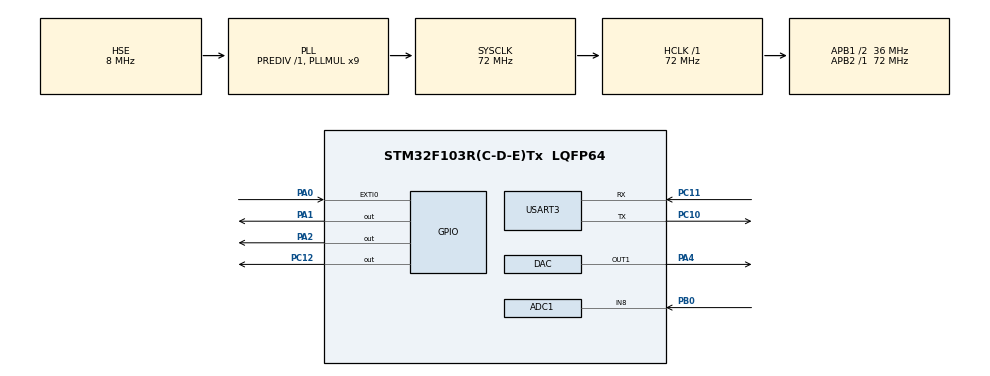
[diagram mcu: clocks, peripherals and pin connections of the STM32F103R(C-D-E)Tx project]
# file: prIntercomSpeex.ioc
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ADC1.Channel-1\#ChannelRegularConversion=ADC_CHANNEL_8
ADC1.NbrOfConversion=1
ADC1.NbrOfConversionFlag=1
ADC1.Rank-1\#ChannelRegularConversion=1
ADC1.SamplingTime-1\#ChannelRegularConversion=ADC_SAMPLETIME_1CYCLE_5
ADC1.master=1
Dma.ADC1.0.Direction=DMA_PERIPH_TO_MEMORY
Dma.ADC1.0.Instance=DMA1_Channel1
Dma.ADC1.0.MemDataAlignment=DMA_MDATAALIGN_HALFWORD
Dma.ADC1.0.MemInc=DMA_MINC_ENABLE
Dma.ADC1.0.Mode=DMA_NORMAL
Dma.ADC1.0.PeriphDataAlignment=DMA_PDATAALIGN_HALFWORD
Dma.ADC1.0.PeriphInc=DMA_PINC_DISABLE
Dma.ADC1.0.Priority=DMA_PRIORITY_LOW
Dma.DAC_CH1.2.Direction=DMA_MEMORY_TO_PERIPH
Dma.DAC_CH1.2.Instance=DMA2_Channel3
Dma.DAC_CH1.2.MemDataAlignment=DMA_MDATAALIGN_HALFWORD
Dma.DAC_CH1.2.MemInc=DMA_MINC_ENABLE
Dma.DAC_CH1.2.Mode=DMA_NORMAL
Dma.DAC_CH1.2.PeriphDataAlignment=DMA_PDATAALIGN_HALFWORD
Dma.DAC_CH1.2.PeriphInc=DMA_PINC_DISABLE
Dma.DAC_CH1.2.Priority=DMA_PRIORITY_LOW
Dma.Request0=ADC1
Dma.Request1=USART3_RX
Dma.Request2=DAC_CH1
Dma.USART3_RX.1.Direction=DMA_PERIPH_TO_MEMORY
Dma.USART3_RX.1.Instance=DMA1_Channel3
Dma.USART3_RX.1.MemDataAlignment=DMA_MDATAALIGN_BYTE
Dma.USART3_RX.1.MemInc=DMA_MINC_ENABLE
Dma.USART3_RX.1.Mode=DMA_NORMAL
Dma.USART3_RX.1.PeriphDataAlignment=DMA_PDATAALIGN_BYTE
Dma.USART3_RX.1.PeriphInc=DMA_PINC_DISABLE
Dma.USART3_RX.1.Priority=DMA_PRIORITY_MEDIUM
Mcu.Family=STM32F1
Mcu.Name=STM32F103R(C-D-E)Tx
Mcu.Package=LQFP64
NVIC.DMA1_Channel1_IRQn=true\:0\:0\:false\:false\:true\:false\:true
NVIC.DMA1_Channel3_IRQn=true\:0\:0\:false\:false\:true\:false\:true
NVIC.DMA2_Channel3_IRQn=true\:0\:0\:true\:false\:true\:false\:true
NVIC.EXTI0_IRQn=true\:0\:0\:false\:false\:true\:true\:true
NVIC.PriorityGroup=NVIC_PRIORITYGROUP_4
NVIC.TIM2_IRQn=true\:5\:0\:true\:false\:true\:true\:true
NVIC.TIM3_IRQn=true\:10\:0\:true\:false\:true\:true\:true
NVIC.TIM6_IRQn=true\:15\:0\:true\:false\:true\:true\:true
PA0-WKUP.GPIO_ModeDefaultEXTI=GPIO_MODE_IT_RISING_FALLING
PA0-WKUP.Signal=GPXTI0
PA1.PinState=GPIO_PIN_SET
PA1.Signal=GPIO_Output
PA13.Mode=Serial_Wire
PA13.Signal=SYS_JTMS-SWDIO
PA14.Mode=Serial_Wire
PA14.Signal=SYS_JTCK-SWCLK
PA2.Signal=GPIO_Output
PA4.Signal=COMP_DAC1_group
PB0.Signal=ADCx_IN8
PC10.Mode=Asynchronous
PC10.Signal=USART3_TX
PC11.Mode=Asynchronous
PC11.Signal=USART3_RX
PC12.Signal=GPIO_Output
PD0-OSC_IN.Mode=HSE-External-Oscillator
PD0-OSC_IN.Signal=RCC_OSC_IN
PD1-OSC_OUT.Mode=HSE-External-Oscillator
PD1-OSC_OUT.Signal=RCC_OSC_OUT
ProjectManager.HeapSize=0x1600
ProjectManager.StackSize=0x600
ProjectManager.TargetToolchain=STM32CubeIDE
RCC.ADCPresc=RCC_ADCPCLK2_DIV6
RCC.AHBFreq_Value=72000000
RCC.APB1CLKDivider=RCC_HCLK_DIV2
RCC.APB1Freq_Value=36000000
RCC.APB1TimFreq_Value=72000000
RCC.APB2Freq_Value=72000000
RCC.APB2TimFreq_Value=72000000
RCC.HCLKFreq_Value=72000000
RCC.PLLMUL=RCC_PLL_MUL9
RCC.PLLSourceVirtual=RCC_PLLSOURCE_HSE
RCC.SYSCLKFreq_VALUE=72000000
RCC.SYSCLKSource=RCC_SYSCLKSOURCE_PLLCLK
RCC.USBFreq_Value=72000000
SH.ADCx_IN8.0=ADC1_IN8,IN8
SH.COMP_DAC1_group.0=DAC_OUT1,DAC_OUT1
TIM2.Period=8999
TIM2.TIM_MasterOutputTrigger=TIM_TRGO_UPDATE
TIM3.Period=159
TIM3.TIM_MasterOutputTrigger=TIM_TRGO_UPDATE
TIM6.Period=7199
TIM6.Prescaler=9999
TIM6.TIM_MasterOutputTrigger=TIM_TRGO_UPDATE
USART3.VirtualMode=VM_ASYNC
VP_TIM2_VS_ClockSourceINT.Mode=Internal
VP_TIM3_VS_ClockSourceITR.Mode=TriggerSource_ITR1
VP_TIM3_VS_ControllerModeClock.Mode=Clock Mode
VP_TIM6_VS_ClockSourceINT.Mode=Enable_Timer
VP_TIM6_VS_OPM.Mode=OPM_bit
board=custom

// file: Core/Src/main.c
/* USER CODE BEGIN Header */
/**
  ******************************************************************************
  * @file           : main.c
  * @brief          : Main program body
  ******************************************************************************
  * @attention
  *
  * <h2><center>&copy; Copyright (c) 2020 STMicroelectronics.
  * All rights reserved.</center></h2>
  *
  * This software component is licensed by ST under BSD 3-Clause license,
  * the "License"; You may not use this file except in compliance with the
  * License. You may obtain a copy of the License at:
  *                        opensource.org/licenses/BSD-3-Clause
  *
  ******************************************************************************
  */
/* USER CODE END Header */

#include "main.h"

/* USER CODE BEGIN Includes */

#include "TComDef.h"

/* USER CODE END Includes */

ADC_HandleTypeDef hadc1;
DMA_HandleTypeDef hdma_adc1;

DAC_HandleTypeDef hdac;
DMA_HandleTypeDef hdma_dac_ch1;

TIM_HandleTypeDef htim2;
TIM_HandleTypeDef htim3;
TIM_HandleTypeDef htim6;

UART_HandleTypeDef huart3;
DMA_HandleTypeDef hdma_usart3_rx;

void SystemClock_Config(void);
static void MX_GPIO_Init(void);
static void MX_DMA_Init(void);
static void MX_TIM2_Init(void);
static void MX_TIM3_Init(void);
static void MX_TIM6_Init(void);
static void MX_ADC1_Init(void);
static void MX_DAC_Init(void);
static void MX_USART3_UART_Init(void);

/* USER CODE BEGIN 0 */
/*!
 *	Обработчик прерываний по таймеру
 */
void HAL_TIM_PeriodElapsedCallback(TIM_HandleTypeDef *htim)
{
	if (htim -> Instance == TIM2) managerState () ;			// С частотой 8 кГц обрабатываем состояния контроллера
	if (htim -> Instance == TIM3) managerTransfer () ;		// По срабатыванию этого таймера выполняется сжатие и передача буфера
	if (htim -> Instance == TIM6) {							// Если сработал этот таймер, то значит передача звука со второго контроллера прекращена
		setState (stateWait) ;
		stVoiceDecodeBufPos = 0 ;
		stVoiceDecodeBufNum = 0 ;
	}
}
//-------------------------------------------------------------------------------------------
/*!
 *	Обработка прерываний по нажатию кнопок
 */
void HAL_GPIO_EXTI_Callback(uint16_t GPIO_Pin)
{
	EXTI -> PR = EXTI_PR_PR0 ;		// Сбрасываем прерывание. Нужно что бы при нажатии на кнопку прерывание не вызывалось два раза.

	switch (stState) {
	  case stateWait :				// Реакция на кнопки возможна только в режиме ожидания и передачи голоса
	  case stateReady :
	  case stateADC :
	  case stateFirstTim3 :
	  case stateSpeexCompress :
		if (HAL_GPIO_ReadPin(GPIOA, GPIO_PIN_0) == GPIO_PIN_RESET) {
			setState (stateFirstTim3) ;						// Переводим в режим оцифровки с микрофона, пропуская первое срабатывание таймера TIM3
			stVoiceEncodeBufPos = 0 ;
			stVoiceEncodeBufNum = 0 ;
			HAL_TIM_Base_Start_IT(&htim3);					// запуск таймера контроля заполнения буфера
		}
		  else {
			setState (stateWait) ;
			HAL_TIM_Base_Stop_IT(&htim3) ;
		  }
	  break ;

	  default :
	  break ;
	}
}
//-------------------------------------------------------------------------------------------
/*!
 *	Обработка прерываний по DMA от аналогового микрофона
 *		!!! При недостаточной производительности контроллера, увеличивается кол-во ошибок. Зачем это нужно я не знаю.
 */
void HAL_ADC_ConvCpltCallback(ADC_HandleTypeDef* hadc)
{
	switch (stState) {				// Если сработало прерывание, то значит нужно сменить позицию в буфере
	  case stateReady :
		if (++stVoiceEncodeBufPos == defVoiceInputBufSize) {
		    stVoiceEncodeBufPos = 0 ;
		    stVoiceEncodeBufTransfer = stVoiceEncodeBufNum ;
		    if (++stVoiceEncodeBufNum == defNumBuf) stVoiceEncodeBufNum = 0 ;
	    }
	  break ;

	  case stateSpeexCompress :	// Если сжатие кодеком еще не закончилось а буфер уже заполнен, то просто теряем оцифровку звука пока оно не закончится
		if (++stVoiceEncodeBufPos == defVoiceInputBufSize) {
			stVoiceEncodeBufPos = defVoiceInputBufSize - 1 ;
			stVoiceEncodeErr++ ;
		}
	  break ;

	  default :
	  break ;
	}
}
//-------------------------------------------------------------------------------------------
/*!
 *	Обработка прерываний по DMA от воспроизведения звука
 */
void HAL_DAC_ConvCpltCallbackCh1(DAC_HandleTypeDef *hdac)
{
	if (++stVoiceDecodeBufPos == defVoiceInputBufSize) {
		stVoiceDecodeBufPos = 0 ;
		if (++stVoiceDecodeBufPlay == defNumBuf)stVoiceDecodeBufPlay = 0 ;
		if (stVoiceDecodeBufPlay == stVoiceDecodeBufNum) setState(stateVoiceWait) ; // Если новых данных не получено, то переходим в режим ожидания получения данных
	}
}
//-------------------------------------------------------------------------------------------
/*!
 * Обработка прерывания DMA после приёма данных
 */
void HAL_UART_RxCpltCallback(UART_HandleTypeDef *huart)
{
	switch (stState) {
	  case stateVoicePlay:
	  case stateVoiceWait :
		htim6.Instance -> CNT = 0 ;									// По новой начинаем отсчёт ожидания прекращения получения звука
		setState (stateVoiceReceive) ;
	  break;

	  case stateWait:
		HAL_TIM_Base_Start_IT (&htim6) ;							// Запускаем таймер для контроля перекращения получения звука.
		setState (stateVoiceReceive) ;
	  break;

	  default:
	  break;
	}

}
//-------------------------------------------------------------------------------------------
/*!
 * В зависимости от состояния управляем светодиодами
 */
void setState (defState inState)
{
	stState = inState ;
	switch (stState) {
	  case stateWait :
		HAL_GPIO_WritePin (GPIOA, defColorLight1, GPIO_PIN_RESET) ;	// Выключаем светодиоды
		HAL_GPIO_WritePin (GPIOA, defColorLight2, GPIO_PIN_RESET) ;
		HAL_GPIO_WritePin(GPIOC, GPIO_PIN_12, GPIO_PIN_RESET) ;		// Включаем контроллер на приём
	  break ;

	  case stateReady :
	  case stateSpeexCompress :
		HAL_GPIO_WritePin (GPIOA, defColorLight1, GPIO_PIN_SET) ;
		HAL_GPIO_WritePin (GPIOA, defColorLight2, GPIO_PIN_RESET) ;
		HAL_GPIO_WritePin(GPIOC, GPIO_PIN_12, GPIO_PIN_SET) ;		// Включаем контроллер на передачу
	  break ;

	  case stateVoiceReceive :
		HAL_GPIO_WritePin (GPIOA, defColorLight1, GPIO_PIN_RESET) ;
		HAL_GPIO_WritePin (GPIOA, defColorLight2, GPIO_PIN_SET) ;
	  break ;

	  default :
	  break ;
	}
}
//-------------------------------------------------------------------------------------------
/*!
 *	Менеджер обработки состояний
 */
void managerState  ()
{
stTemp++ ;

	switch (stState) {
	  case stateStart :
		if (stStartPeriod-- == 0) setState(stateWait) ;
							// Сюда я хотел присать какие-то действия при запуске.
	  break ;

	  case stateReady :
	  case stateSpeexCompress :
        HAL_ADC_Start_DMA (&hadc1, (uint32_t*) &stVoiceEncodeBuf [stVoiceEncodeBufNum][stVoiceEncodeBufPos], 1);
	  break ;

	  case stateVoiceReceive : {	// Получен очередной блок.
		speex_bits_read_from(&stSpeexDecodeStream, (char *) stSpeexDecodeBuf, defVoiceEncodeBufSize) ;
		speex_decode_int(stSpeexDecodeHandle, &stSpeexDecodeStream, (spx_int16_t *) stVoiceDecodeBuf [stVoiceDecodeBufNum]) ;
		if (++stVoiceDecodeBufNum == defNumBuf) stVoiceDecodeBufNum = 0 ;
		startUART_DMA ;
		setState (stateVoicePlay) ;
	  }
	  break ;

	  case stateVoicePlay :	{		// Воспроизводим через динамик декодированные данные
		  uint32_t voice = stVoiceDecodeBuf [stVoiceDecodeBufPlay][stVoiceDecodeBufPos] + 700 ;
		  HAL_DAC_Start_DMA(&hdac, DAC_CHANNEL_1, (uint32_t *) &voice, 1, DAC_ALIGN_12B_R) ;
	  }
	  break ;

	  default :
	  break ;
	}

}
//----------------------------------------------------------------------------------
/*!
 *	Менеджер сжатия кодеком и передачи данных
 */
void managerTransfer ()
{
	switch (stState) {
	  case stateFirstTim3 :		// Пропускаем первое срабатывание таймера TIM3
		setState (stateReady) ;
	  break ;

	  case stateReady :
		setState (stateSpeexCompress) ;
		speex_bits_reset(&stSpeexEncodeStream) ;	// Обрабатываем кодеком входной буфер
		speex_encode_int(stSpeexEncodeHandle, (spx_int16_t*)stVoiceEncodeBuf [stVoiceEncodeBufTransfer], &stSpeexEncodeStream);
		speex_bits_write(&stSpeexEncodeStream, (char *) stSpeexEncodeBuf, defVoiceEncodeBufSize);

		HAL_UART_Transmit(&huart3, (uint8_t *)stSpeexEncodeBuf, defVoiceEncodeBufSize, defTimeoutTransmit) ;	// Сжатые данные передаём на второй контроллер
		if (stState == stateSpeexCompress) setState (stateReady) ;	// Проверяем, что за время обработки буфера кодеком состояние не изменилось
	  break ;
	}
}
//----------------------------------------------------------------------------------
/* USER CODE END 0 */

int main(void)
{

  /* MCU Configuration--------------------------------------------------------*/

  /* Reset of all peripherals, Initializes the Flash interface and the Systick. */
  HAL_Init();

  /* Configure the system clock */
  SystemClock_Config();

  /* Initialize all configured peripherals */
  MX_GPIO_Init();
  MX_DMA_Init();
  MX_TIM2_Init();
  MX_TIM3_Init();
  MX_TIM6_Init();
  MX_ADC1_Init();
  MX_DAC_Init();
  MX_USART3_UART_Init();
  /* USER CODE BEGIN 2 */

  speex_bits_init(&stSpeexEncodeStream);
  speex_bits_init(&stSpeexDecodeStream);
  stSpeexDecodeHandle = speex_decoder_init(&speex_nb_mode);		// Инициализация для работы кодека speex на передачу
  stSpeexEncodeHandle = speex_encoder_init(&speex_nb_mode);
  //	speex_encoder_ctl(stSpeexEncodeHandle, SPEEX_SET_VBR, &stSpeexVBR);	// По большому счёту эти настройки не нужны, т.к. всё прописано по умолчанию.
  //	speex_encoder_ctl(stSpeexEncodeHandle, SPEEX_SET_QUALITY,&stSpeexQuality);
  //	speex_encoder_ctl(stSpeexEncodeHandle, SPEEX_SET_COMPLEXITY, &stSpeexComplexity);
  speex_decoder_ctl(stSpeexDecodeHandle, SPEEX_SET_ENH, (void *)&stSpeexEnh) ;

  HAL_TIM_Base_Start_IT(&htim2) ;						// Запускаем основной таймер на 8 кГц

  HAL_ADCEx_Calibration_Start(&hadc1);
  startUART_DMA ;

  /* USER CODE END 2 */

  /* Infinite loop */
  while (1)
  {

  }
}

void SystemClock_Config(void)
{
  RCC_OscInitTypeDef RCC_OscInitStruct = {0};
  RCC_ClkInitTypeDef RCC_ClkInitStruct = {0};
  RCC_PeriphCLKInitTypeDef PeriphClkInit = {0};

  /** Initializes the CPU, AHB and APB busses clocks
  */
  RCC_OscInitStruct.OscillatorType = RCC_OSCILLATORTYPE_HSE;
  RCC_OscInitStruct.HSEState = RCC_HSE_ON;
  RCC_OscInitStruct.HSEPredivValue = RCC_HSE_PREDIV_DIV1;
  RCC_OscInitStruct.HSIState = RCC_HSI_ON;
  RCC_OscInitStruct.PLL.PLLState = RCC_PLL_ON;
  RCC_OscInitStruct.PLL.PLLSource = RCC_PLLSOURCE_HSE;
  RCC_OscInitStruct.PLL.PLLMUL = RCC_PLL_MUL9;
  if (HAL_RCC_OscConfig(&RCC_OscInitStruct) != HAL_OK)
  {
    Error_Handler();
  }
  /** Initializes the CPU, AHB and APB busses clocks
  */
  RCC_ClkInitStruct.ClockType = RCC_CLOCKTYPE_HCLK|RCC_CLOCKTYPE_SYSCLK
                              |RCC_CLOCKTYPE_PCLK1|RCC_CLOCKTYPE_PCLK2;
  RCC_ClkInitStruct.SYSCLKSource = RCC_SYSCLKSOURCE_PLLCLK;
  RCC_ClkInitStruct.AHBCLKDivider = RCC_SYSCLK_DIV1;
  RCC_ClkInitStruct.APB1CLKDivider = RCC_HCLK_DIV2;
  RCC_ClkInitStruct.APB2CLKDivider = RCC_HCLK_DIV1;

  if (HAL_RCC_ClockConfig(&RCC_ClkInitStruct, FLASH_LATENCY_2) != HAL_OK)
  {
    Error_Handler();
  }
  PeriphClkInit.PeriphClockSelection = RCC_PERIPHCLK_ADC;
  PeriphClkInit.AdcClockSelection = RCC_ADCPCLK2_DIV6;
  if (HAL_RCCEx_PeriphCLKConfig(&PeriphClkInit) != HAL_OK)
  {
    Error_Handler();
  }
}

static void MX_ADC1_Init(void)
{

  ADC_ChannelConfTypeDef sConfig = {0};

  /** Common config
  */
  hadc1.Instance = ADC1;
  hadc1.Init.ScanConvMode = ADC_SCAN_DISABLE;
  hadc1.Init.ContinuousConvMode = DISABLE;
  hadc1.Init.DiscontinuousConvMode = DISABLE;
  hadc1.Init.ExternalTrigConv = ADC_SOFTWARE_START;
  hadc1.Init.DataAlign = ADC_DATAALIGN_RIGHT;
  hadc1.Init.NbrOfConversion = 1;
  if (HAL_ADC_Init(&hadc1) != HAL_OK)
  {
    Error_Handler();
  }
  /** Configure Regular Channel
  */
  sConfig.Channel = ADC_CHANNEL_8;
  sConfig.Rank = ADC_REGULAR_RANK_1;
  sConfig.SamplingTime = ADC_SAMPLETIME_1CYCLE_5;
  if (HAL_ADC_ConfigChannel(&hadc1, &sConfig) != HAL_OK)
  {
    Error_Handler();
  }

}

static void MX_DAC_Init(void)
{

  DAC_ChannelConfTypeDef sConfig = {0};

  /** DAC Initialization
  */
  hdac.Instance = DAC;
  if (HAL_DAC_Init(&hdac) != HAL_OK)
  {
    Error_Handler();
  }
  /** DAC channel OUT1 config
  */
  sConfig.DAC_Trigger = DAC_TRIGGER_NONE;
  sConfig.DAC_OutputBuffer = DAC_OUTPUTBUFFER_ENABLE;
  if (HAL_DAC_ConfigChannel(&hdac, &sConfig, DAC_CHANNEL_1) != HAL_OK)
  {
    Error_Handler();
  }

}

static void MX_TIM2_Init(void)
{

  TIM_ClockConfigTypeDef sClockSourceConfig = {0};
  TIM_MasterConfigTypeDef sMasterConfig = {0};

  htim2.Instance = TIM2;
  htim2.Init.Prescaler = 0;
  htim2.Init.CounterMode = TIM_COUNTERMODE_UP;
  htim2.Init.Period = 8999;
  htim2.Init.ClockDivision = TIM_CLOCKDIVISION_DIV1;
  htim2.Init.AutoReloadPreload = TIM_AUTORELOAD_PRELOAD_DISABLE;
  if (HAL_TIM_Base_Init(&htim2) != HAL_OK)
  {
    Error_Handler();
  }
  sClockSourceConfig.ClockSource = TIM_CLOCKSOURCE_INTERNAL;
  if (HAL_TIM_ConfigClockSource(&htim2, &sClockSourceConfig) != HAL_OK)
  {
    Error_Handler();
  }
  sMasterConfig.MasterOutputTrigger = TIM_TRGO_UPDATE;
  sMasterConfig.MasterSlaveMode = TIM_MASTERSLAVEMODE_DISABLE;
  if (HAL_TIMEx_MasterConfigSynchronization(&htim2, &sMasterConfig) != HAL_OK)
  {
    Error_Handler();
  }

}

static void MX_TIM3_Init(void)
{

  TIM_SlaveConfigTypeDef sSlaveConfig = {0};
  TIM_MasterConfigTypeDef sMasterConfig = {0};

  htim3.Instance = TIM3;
  htim3.Init.Prescaler = 0;
  htim3.Init.CounterMode = TIM_COUNTERMODE_UP;
  htim3.Init.Period = 159;
  htim3.Init.ClockDivision = TIM_CLOCKDIVISION_DIV1;
  htim3.Init.AutoReloadPreload = TIM_AUTORELOAD_PRELOAD_DISABLE;
  if (HAL_TIM_Base_Init(&htim3) != HAL_OK)
  {
    Error_Handler();
  }
  sSlaveConfig.SlaveMode = TIM_SLAVEMODE_EXTERNAL1;
  sSlaveConfig.InputTrigger = TIM_TS_ITR1;
  if (HAL_TIM_SlaveConfigSynchro(&htim3, &sSlaveConfig) != HAL_OK)
  {
    Error_Handler();
  }
  sMasterConfig.MasterOutputTrigger = TIM_TRGO_UPDATE;
  sMasterConfig.MasterSlaveMode = TIM_MASTERSLAVEMODE_DISABLE;
  if (HAL_TIMEx_MasterConfigSynchronization(&htim3, &sMasterConfig) != HAL_OK)
  {
    Error_Handler();
  }

}

static void MX_TIM6_Init(void)
{

  TIM_MasterConfigTypeDef sMasterConfig = {0};

  htim6.Instance = TIM6;
  htim6.Init.Prescaler = 9999;
  htim6.Init.CounterMode = TIM_COUNTERMODE_UP;
  htim6.Init.Period = 7199;
  htim6.Init.AutoReloadPreload = TIM_AUTORELOAD_PRELOAD_DISABLE;
  if (HAL_TIM_Base_Init(&htim6) != HAL_OK)
  {
    Error_Handler();
  }
  if (HAL_TIM_OnePulse_Init(&htim6, TIM_OPMODE_SINGLE) != HAL_OK)
  {
    Error_Handler();
  }
  sMasterConfig.MasterOutputTrigger = TIM_TRGO_UPDATE;
  sMasterConfig.MasterSlaveMode = TIM_MASTERSLAVEMODE_DISABLE;
  if (HAL_TIMEx_MasterConfigSynchronization(&htim6, &sMasterConfig) != HAL_OK)
  {
    Error_Handler();
  }

}

static void MX_USART3_UART_Init(void)
{

  huart3.Instance = USART3;
  huart3.Init.BaudRate = 115200;
  huart3.Init.WordLength = UART_WORDLENGTH_8B;
  huart3.Init.StopBits = UART_STOPBITS_1;
  huart3.Init.Parity = UART_PARITY_NONE;
  huart3.Init.Mode = UART_MODE_TX_RX;
  huart3.Init.HwFlowCtl = UART_HWCONTROL_NONE;
  huart3.Init.OverSampling = UART_OVERSAMPLING_16;
  if (HAL_UART_Init(&huart3) != HAL_OK)
  {
    Error_Handler();
  }

}

static void MX_DMA_Init(void)
{

  /* DMA controller clock enable */
  __HAL_RCC_DMA1_CLK_ENABLE();
  __HAL_RCC_DMA2_CLK_ENABLE();

  /* DMA interrupt init */
  /* DMA1_Channel1_IRQn interrupt configuration */
  HAL_NVIC_SetPriority(DMA1_Channel1_IRQn, 0, 0);
  HAL_NVIC_EnableIRQ(DMA1_Channel1_IRQn);
  /* DMA1_Channel3_IRQn interrupt configuration */
  HAL_NVIC_SetPriority(DMA1_Channel3_IRQn, 0, 0);
  HAL_NVIC_EnableIRQ(DMA1_Channel3_IRQn);
  /* DMA2_Channel3_IRQn interrupt configuration */
  HAL_NVIC_SetPriority(DMA2_Channel3_IRQn, 0, 0);
  HAL_NVIC_EnableIRQ(DMA2_Channel3_IRQn);

}

static void MX_GPIO_Init(void)
{
  GPIO_InitTypeDef GPIO_InitStruct = {0};

  /* GPIO Ports Clock Enable */
  __HAL_RCC_GPIOD_CLK_ENABLE();
  __HAL_RCC_GPIOA_CLK_ENABLE();
  __HAL_RCC_GPIOB_CLK_ENABLE();
  __HAL_RCC_GPIOC_CLK_ENABLE();

  /*Configure GPIO pin Output Level */
  HAL_GPIO_WritePin(GPIOA, GPIO_PIN_1, GPIO_PIN_SET);

  /*Configure GPIO pin Output Level */
  HAL_GPIO_WritePin(GPIOA, GPIO_PIN_2, GPIO_PIN_RESET);

  /*Configure GPIO pin Output Level */
  HAL_GPIO_WritePin(GPIOC, GPIO_PIN_12, GPIO_PIN_RESET);

  /*Configure GPIO pin : PA0 */
  GPIO_InitStruct.Pin = GPIO_PIN_0;
  GPIO_InitStruct.Mode = GPIO_MODE_IT_RISING_FALLING;
  GPIO_InitStruct.Pull = GPIO_NOPULL;
  HAL_GPIO_Init(GPIOA, &GPIO_InitStruct);

  /*Configure GPIO pins : PA1 PA2 */
  GPIO_InitStruct.Pin = GPIO_PIN_1|GPIO_PIN_2;
  GPIO_InitStruct.Mode = GPIO_MODE_OUTPUT_PP;
  GPIO_InitStruct.Pull = GPIO_NOPULL;
  GPIO_InitStruct.Speed = GPIO_SPEED_FREQ_LOW;
  HAL_GPIO_Init(GPIOA, &GPIO_InitStruct);

  /*Configure GPIO pin : PC12 */
  GPIO_InitStruct.Pin = GPIO_PIN_12;
  GPIO_InitStruct.Mode = GPIO_MODE_OUTPUT_PP;
  GPIO_InitStruct.Pull = GPIO_NOPULL;
  GPIO_InitStruct.Speed = GPIO_SPEED_FREQ_LOW;
  HAL_GPIO_Init(GPIOC, &GPIO_InitStruct);

  /* EXTI interrupt init*/
  HAL_NVIC_SetPriority(EXTI0_IRQn, 0, 0);
  HAL_NVIC_EnableIRQ(EXTI0_IRQn);

}

void Error_Handler(void)
{
}

/************************ (C) COPYRIGHT STMicroelectronics *****END OF FILE****/
